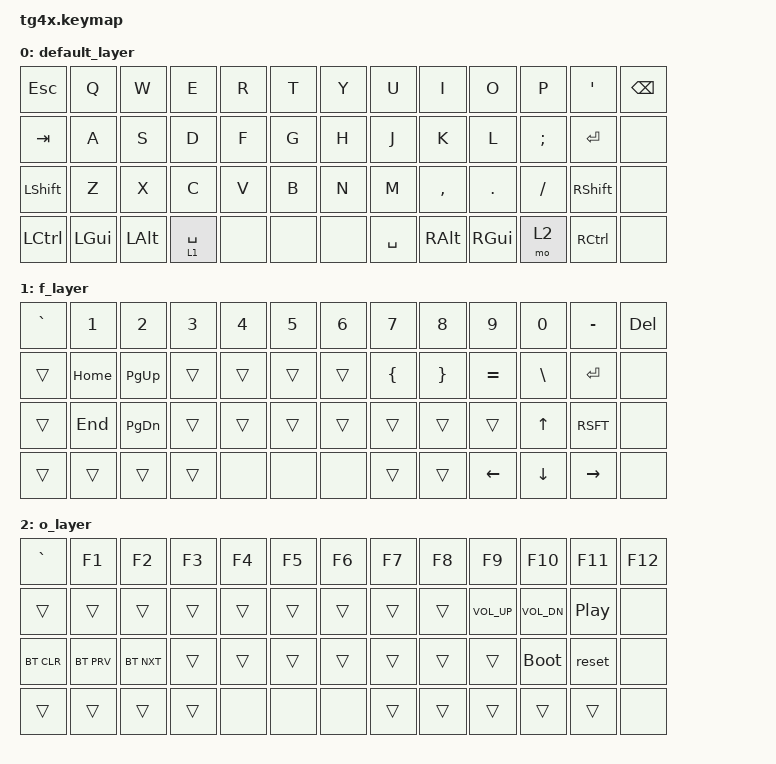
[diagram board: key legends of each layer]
/*
 * Copyright (c) 2020 The ZMK Contributors
 *
 * SPDX-License-Identifier: MIT
 */

#include <behaviors.dtsi>
#include <dt-bindings/zmk/keys.h>
#include <dt-bindings/zmk/bt.h>

/ {
	keymap {
		compatible = "zmk,keymap";

		default_layer {
			bindings = <
				&kp ESCAPE  &kp Q     &kp W    &kp E       &kp R  &kp T   &kp Y     &kp U     &kp I      &kp O    &kp P     &kp SQT   &kp BSPC
				&kp TAB     &kp A     &kp S    &kp D       &kp F  &kp G   &kp H     &kp J     &kp K      &kp L    &kp SEMI  &kp ENTER &none
				&kp LSHFT   &kp Z     &kp X    &kp C       &kp V  &kp B   &kp N     &kp M     &kp COMMA  &kp DOT  &kp SLASH &kp RSHFT &none
				&kp LCTRL   &kp LGUI  &kp LALT &lt 1 SPACE &none  &none   &none     &kp SPACE &kp RALT   &kp RGUI &mo 2     &kp RCTL &none
			>;
		};

		f_layer {
			bindings = <
				&kp GRAVE &kp N1   &kp N2    &kp N3 &kp N4 &kp N5 &kp N6 &kp N7   &kp N8   &kp N9    &kp N0   &kp MINUS &kp DEL
				&trans    &kp HOME &kp PG_UP &trans &trans &trans &trans &kp LBRC &kp RBRC &kp EQUAL &kp BSLH &kp ENTER &none
				&trans    &kp END  &kp PG_DN &trans &trans &trans &trans &trans   &trans   &trans    &kp UP   &kp RSFT  &none
				&trans    &trans   &trans    &trans &none  &none  &none  &trans   &trans   &kp LEFT  &kp DOWN &kp RIGHT &none
			>;
		};

		o_layer {
			bindings = <
				&kp GRAVE  &kp F1     &kp F2     &kp F3 &kp F4 &kp F5 &kp F6 &kp F7 &kp F8 &kp F9       &kp F10      &kp F11  &kp F12
				&trans     &trans     &trans     &trans &trans &trans &trans &trans &trans &kp C_VOL_UP &kp C_VOL_DN &kp C_PP &none
				&bt BT_CLR &bt BT_PRV &bt BT_NXT &trans &trans &trans &trans &trans &trans &trans       &bootloader  &reset   &none
				&trans     &trans     &trans     &trans &none  &none  &none  &trans &trans &trans       &trans       &trans   &none
			>;
		};
	};
};
